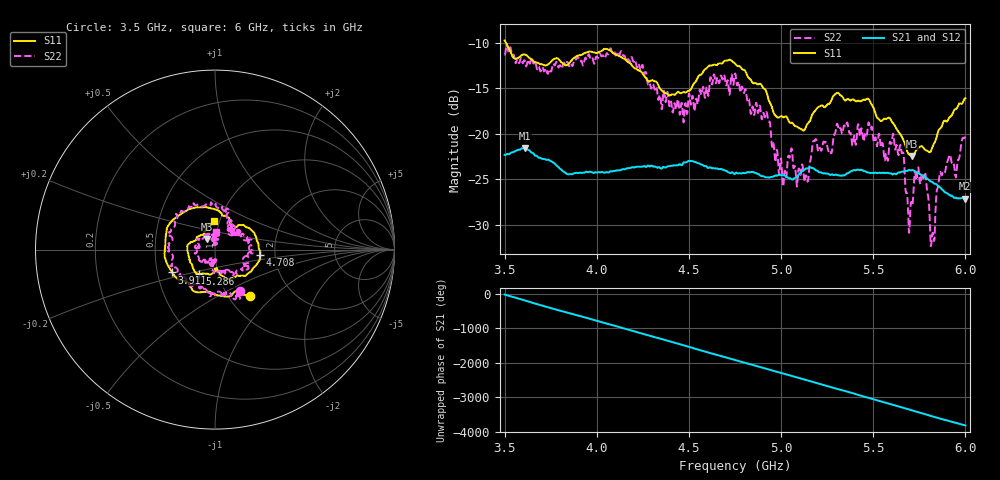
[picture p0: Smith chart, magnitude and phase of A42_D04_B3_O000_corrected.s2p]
! Created with skrf 1.9.0 (http://scikit-rf.org).
# Hz S RI R 50.0
!freq ReS11 ImS11 ReS21 ImS21 ReS12 ImS12 ReS22 ImS22
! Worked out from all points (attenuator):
!   1601 points, 3.5 GHz to 6 GHz, reference 50 ohm
!   highest |S21| = -21.57 dB at 3.609 GHz (marker M1); lowest = -27.1 dB at 5.998 GHz (marker M2)
!   lowest |S11| = -22.4 dB at 5.711 GHz (marker M3), VSWR 1.16, Z = 45.2 + j5.4 ohm
!   |S11| at or under -10 dB: 3.508 GHz to end of sweep
!   |S22| runs from -32.3 to -10.3 dB; largest |S21 - S12| = 0.001
!   S11 on the Smith chart (normalised r, x): 3.5 GHz: 1.26, -0.73; 3.911 GHz: 0.60, -0.16; 4.708 GHz: 1.66, -0.11; 5.286 GHz: 0.81, -0.23; 6 GHz: 0.94, +0.30
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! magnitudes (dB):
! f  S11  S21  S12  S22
! 3.5 GHz  -9.7  -22.3  -22.3  -11.3
! 3.609 GHz  -11.3  -21.6  -21.6  -12.0
! 3.911 GHz  -11.4  -24.3  -24.2  -12.0
! 3.917 GHz  -11.3  -24.3  -24.3  -12.0
! 4.139 GHz  -11.7  -23.9  -23.9  -11.3
! 4.334 GHz  -14.7  -23.7  -23.6  -16.3
! 4.708 GHz  -12.0  -24.1  -24.0  -14.2
! 4.75 GHz  -12.3  -24.4  -24.3  -13.4
! 4.928 GHz  -15.9  -24.8  -24.7  -18.3
! 5.017 GHz  -18.2  -24.6  -24.5  -24.4
! 5.138 GHz  -19.1  -23.8  -23.7  -24.7
! 5.167 GHz  -18.0  -23.8  -23.7  -21.8
! 5.286 GHz  -15.8  -24.5  -24.5  -20.2
! 5.584 GHz  -18.2  -24.3  -24.3  -21.9
! 5.655 GHz  -20.3  -24.2  -24.1  -22.1
! 5.688 GHz  -22.1  -24.0  -24.0  -27.8
! 5.711 GHz  -22.4  -24.0  -23.9  -27.8
! 5.775 GHz  -21.6  -24.7  -24.6  -24.7
! 5.822 GHz  -21.4  -25.3  -25.2  -30.9
! 5.858 GHz  -19.5  -25.8  -25.7  -24.8
! 5.998 GHz  -16.1  -27.1  -27.0  -20.4
! 6 GHz  -16.1  -27.1  -27.0  -20.3
